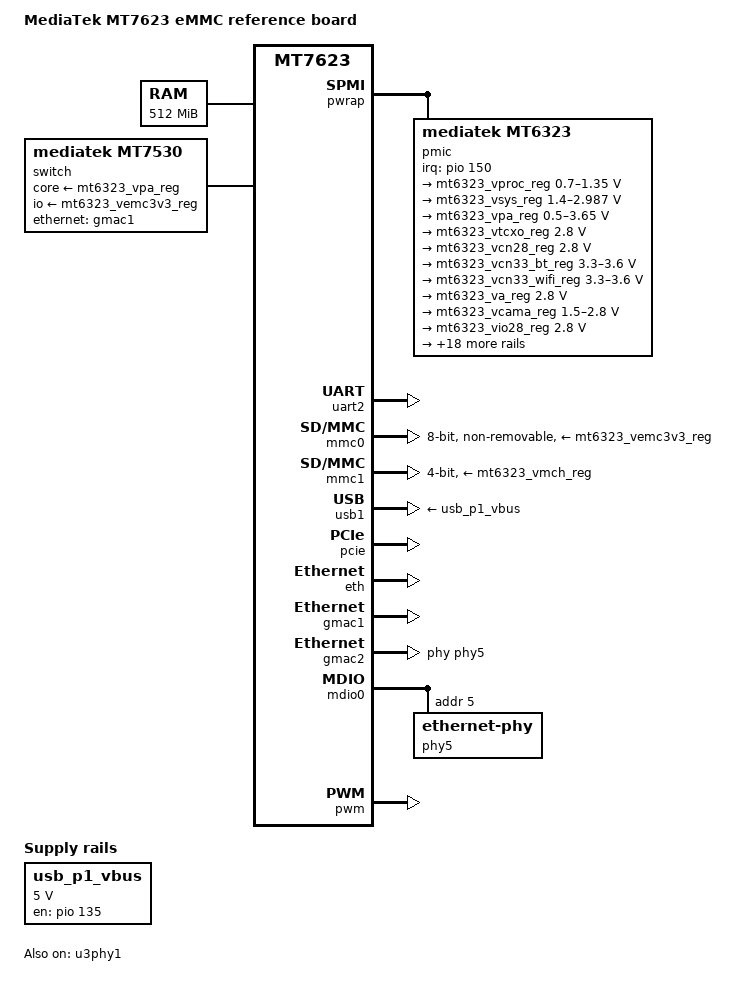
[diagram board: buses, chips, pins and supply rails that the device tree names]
/*
 * Copyright (c) 2016 MediaTek Inc.
 * Author: John Crispin <blogic@openwrt.org>
 *
 * This program is free software; you can redistribute it and/or modify
 * it under the terms of the GNU General Public License version 2 as
 * published by the Free Software Foundation.
 *
 * This program is distributed in the hope that it will be useful,
 * but WITHOUT ANY WARRANTY; without even the implied warranty of
 * MERCHANTABILITY or FITNESS FOR A PARTICULAR PURPOSE.  See the
 * GNU General Public License for more details.
 */

/dts-v1/;

#include "_mt7623.dtsi"
#include <dt-bindings/gpio/gpio.h>

/ {
	model = "MediaTek MT7623 eMMC reference board";
	compatible = "mediatek,mt7623-rfb-emmc", "mediatek,mt7623";

	chosen {
		stdout-path = &uart2;
		bootargs = "earlyprintk block2mtd.block2mtd=/dev/mmcblk0,65536,eMMC,5 mtdparts=eMMC:256k(mbr)ro,512k(uboot)ro,256k(config)ro,256k(factory)ro,32M(kernel),32M(recovery),1024M(rootfs),2048M(usrdata),-(bmtpool) rootfstype=squashfs,jffs2";
	};

	memory {
		reg = <0 0x80000000 0 0x20000000>;
	};

	usb_p1_vbus: regulator@0 {
		compatible = "regulator-fixed";
		regulator-name = "usb_vbus";
		regulator-min-microvolt = <5000000>;
		regulator-max-microvolt = <5000000>;
		gpio = <&pio 135 GPIO_ACTIVE_HIGH>;
		enable-active-high;
	};

	switch {
		compatible = "mediatek,mt7530";
		#address-cells = <1>;
		#size-cells = <0>;
		reg = <0>;

		dsa,mii-bus = <&mdio0>;

		pinctrl-names = "default";
		pinctrl-0 = <&eth_default>;

		core-supply = <&mt6323_vpa_reg>;
		io-supply = <&mt6323_vemc3v3_reg>;

		mediatek,mcm;
		resets = <&ethsys 2>;
		reset-names = "mcm";

		ports {
			#address-cells = <1>;
			#size-cells = <0>;
			reg = <0>;
			port@0 {
				reg = <0>;
				label = "lan0";
			};

			port@1 {
				reg = <1>;
				label = "lan1";
			};

			port@2 {
				reg = <2>;
				label = "lan2";
			};

			port@3 {
				reg = <3>;
				label = "lan3";
			};

			port@6 {
				reg = <6>;
				label = "cpu";
				ethernet = <&gmac1>;
				phy-mode = "trgmii";
				fixed-link {
					speed = <1000>;
					full-duplex;
				};
			};
		};
	};
};

&cpu0 {
	proc-supply = <&mt6323_vproc_reg>;
};

&cpu1 {
	proc-supply = <&mt6323_vproc_reg>;
};

&cpu2 {
	proc-supply = <&mt6323_vproc_reg>;
};

&cpu3 {
	proc-supply = <&mt6323_vproc_reg>;
};

&pwrap {
	pmic: mt6323 {
		compatible = "mediatek,mt6323";
		interrupt-parent = <&pio>;
		interrupts = <150 IRQ_TYPE_LEVEL_HIGH>;
		interrupt-controller;
		#interrupt-cells = <2>;

		mt6323regulator: mt6323regulator{
			compatible = "mediatek,mt6323-regulator";

			mt6323_vproc_reg: buck_vproc{
				regulator-name = "vproc";
				regulator-min-microvolt = < 700000>;
				regulator-max-microvolt = <1350000>;
				regulator-ramp-delay = <12500>;
				regulator-always-on;
				regulator-boot-on;
			};

			mt6323_vsys_reg: buck_vsys{
				regulator-name = "vsys";
				regulator-min-microvolt = <1400000>;
				regulator-max-microvolt = <2987500>;
				regulator-ramp-delay = <25000>;
				regulator-always-on;
				regulator-boot-on;
			};

			mt6323_vpa_reg: buck_vpa{
				regulator-name = "vpa";
				regulator-min-microvolt = < 500000>;
				regulator-max-microvolt = <3650000>;
			};

			mt6323_vtcxo_reg: ldo_vtcxo{
				regulator-name = "vtcxo";
				regulator-min-microvolt = <2800000>;
				regulator-max-microvolt = <2800000>;
				regulator-enable-ramp-delay = <90>;
				regulator-always-on;
				regulator-boot-on;
			};

			mt6323_vcn28_reg: ldo_vcn28{
				regulator-name = "vcn28";
				regulator-min-microvolt = <2800000>;
				regulator-max-microvolt = <2800000>;
				regulator-enable-ramp-delay = <185>;
			};

			mt6323_vcn33_bt_reg: ldo_vcn33_bt{
				regulator-name = "vcn33_bt";
				regulator-min-microvolt = <3300000>;
				regulator-max-microvolt = <3600000>;
				regulator-enable-ramp-delay = <185>;
			};

			mt6323_vcn33_wifi_reg: ldo_vcn33_wifi{
				regulator-name = "vcn33_wifi";
				regulator-min-microvolt = <3300000>;
				regulator-max-microvolt = <3600000>;
				regulator-enable-ramp-delay = <185>;
			};

			mt6323_va_reg: ldo_va{
				regulator-name = "va";
				regulator-min-microvolt = <2800000>;
				regulator-max-microvolt = <2800000>;
				regulator-enable-ramp-delay = <216>;
				regulator-always-on;
				regulator-boot-on;
			};

			mt6323_vcama_reg: ldo_vcama{
				regulator-name = "vcama";
				regulator-min-microvolt = <1500000>;
				regulator-max-microvolt = <2800000>;
				regulator-enable-ramp-delay = <216>;
			};

			mt6323_vio28_reg: ldo_vio28{
				regulator-name = "vio28";
				regulator-min-microvolt = <2800000>;
				regulator-max-microvolt = <2800000>;
				regulator-enable-ramp-delay = <216>;
				regulator-always-on;
				regulator-boot-on;
			};

			mt6323_vusb_reg: ldo_vusb{
				regulator-name = "vusb";
				regulator-min-microvolt = <3300000>;
				regulator-max-microvolt = <3300000>;
				regulator-enable-ramp-delay = <216>;
				regulator-boot-on;
			};

			mt6323_vmc_reg: ldo_vmc{
				regulator-name = "vmc";
				regulator-min-microvolt = <1800000>;
				regulator-max-microvolt = <3300000>;
				regulator-enable-ramp-delay = <36>;
				regulator-boot-on;
			};

			mt6323_vmch_reg: ldo_vmch{
				regulator-name = "vmch";
				regulator-min-microvolt = <3000000>;
				regulator-max-microvolt = <3300000>;
				regulator-enable-ramp-delay = <36>;
				regulator-boot-on;
			};

			mt6323_vemc3v3_reg: ldo_vemc3v3{
				regulator-name = "vemc3v3";
				regulator-min-microvolt = <3000000>;
				regulator-max-microvolt = <3300000>;
				regulator-enable-ramp-delay = <36>;
				regulator-boot-on;
			};

			mt6323_vgp1_reg: ldo_vgp1{
				regulator-name = "vgp1";
				regulator-min-microvolt = <1200000>;
				regulator-max-microvolt = <3300000>;
				regulator-enable-ramp-delay = <216>;
			};

			mt6323_vgp2_reg: ldo_vgp2{
				regulator-name = "vgp2";
				regulator-min-microvolt = <1200000>;
				regulator-max-microvolt = <3000000>;
				regulator-enable-ramp-delay = <216>;
			};

			mt6323_vgp3_reg: ldo_vgp3{
				regulator-name = "vgp3";
				regulator-min-microvolt = <1200000>;
				regulator-max-microvolt = <1800000>;
				regulator-enable-ramp-delay = <216>;
			};

			mt6323_vcn18_reg: ldo_vcn18{
				regulator-name = "vcn18";
				regulator-min-microvolt = <1800000>;
				regulator-max-microvolt = <1800000>;
				regulator-enable-ramp-delay = <216>;
			};

			mt6323_vsim1_reg: ldo_vsim1{
				regulator-name = "vsim1";
				regulator-min-microvolt = <1800000>;
				regulator-max-microvolt = <3000000>;
				regulator-enable-ramp-delay = <216>;
			};

			mt6323_vsim2_reg: ldo_vsim2{
				regulator-name = "vsim2";
				regulator-min-microvolt = <1800000>;
				regulator-max-microvolt = <3000000>;
				regulator-enable-ramp-delay = <216>;
			};

			mt6323_vrtc_reg: ldo_vrtc{
				regulator-name = "vrtc";
				regulator-min-microvolt = <2800000>;
				regulator-max-microvolt = <2800000>;
				regulator-always-on;
				regulator-boot-on;
			};

			mt6323_vcamaf_reg: ldo_vcamaf{
				regulator-name = "vcamaf";
				regulator-min-microvolt = <1200000>;
				regulator-max-microvolt = <3300000>;
				regulator-enable-ramp-delay = <216>;
			};

			mt6323_vibr_reg: ldo_vibr{
				regulator-name = "vibr";
				regulator-min-microvolt = <1200000>;
				regulator-max-microvolt = <3300000>;
				regulator-enable-ramp-delay = <36>;
			};

			mt6323_vrf18_reg: ldo_vrf18{
				regulator-name = "vrf18";
				regulator-min-microvolt = <1825000>;
				regulator-max-microvolt = <1825000>;
				regulator-enable-ramp-delay = <187>;
			};

			mt6323_vm_reg: ldo_vm{
				regulator-name = "vm";
				regulator-min-microvolt = <1200000>;
				regulator-max-microvolt = <1800000>;
				regulator-enable-ramp-delay = <216>;
				regulator-always-on;
				regulator-boot-on;
			};

			mt6323_vio18_reg: ldo_vio18{
				regulator-name = "vio18";
				regulator-min-microvolt = <1800000>;
				regulator-max-microvolt = <1800000>;
				regulator-enable-ramp-delay = <216>;
				regulator-always-on;
				regulator-boot-on;
			};

			mt6323_vcamd_reg: ldo_vcamd{
				regulator-name = "vcamd";
				regulator-min-microvolt = <1200000>;
				regulator-max-microvolt = <1800000>;
				regulator-enable-ramp-delay = <216>;
			};

			mt6323_vcamio_reg: ldo_vcamio{
				regulator-name = "vcamio";
				regulator-min-microvolt = <1800000>;
				regulator-max-microvolt = <1800000>;
				regulator-enable-ramp-delay = <216>;
			};
		};
	};
};

&uart2 {
	status = "okay";
};

&mmc0 {
	status = "okay";
	pinctrl-names = "default", "state_uhs";
	pinctrl-0 = <&mmc0_pins_default>;
	pinctrl-1 = <&mmc0_pins_uhs>;
	bus-width = <8>;
	max-frequency = <50000000>;
	cap-mmc-highspeed;
	vmmc-supply = <&mt6323_vemc3v3_reg>;
	vqmmc-supply = <&mt6323_vio18_reg>;
	non-removable;
};

&mmc1 {
	status = "okay";
	pinctrl-names = "default", "state_uhs";
	pinctrl-0 = <&mmc1_pins_default>;
	pinctrl-1 = <&mmc1_pins_uhs>;
	bus-width = <4>;
	max-frequency = <50000000>;
	cap-sd-highspeed;
	sd-uhs-sdr25;
//	cd-gpios = <&pio 132 0>;
	vmmc-supply = <&mt6323_vmch_reg>;
	vqmmc-supply = <&mt6323_vmc_reg>;
};

&pio {
	mmc0_pins_default: mmc0default {
		pins_cmd_dat {
			pinmux = <MT7623_PIN_111_MSDC0_DAT7_FUNC_MSDC0_DAT7>,
				 <MT7623_PIN_112_MSDC0_DAT6_FUNC_MSDC0_DAT6>,
				 <MT7623_PIN_113_MSDC0_DAT5_FUNC_MSDC0_DAT5>,
				 <MT7623_PIN_114_MSDC0_DAT4_FUNC_MSDC0_DAT4>,
				 <MT7623_PIN_118_MSDC0_DAT3_FUNC_MSDC0_DAT3>,
				 <MT7623_PIN_119_MSDC0_DAT2_FUNC_MSDC0_DAT2>,
				 <MT7623_PIN_120_MSDC0_DAT1_FUNC_MSDC0_DAT1>,
				 <MT7623_PIN_121_MSDC0_DAT0_FUNC_MSDC0_DAT0>,
				 <MT7623_PIN_116_MSDC0_CMD_FUNC_MSDC0_CMD>;
			input-enable;
			bias-pull-up;
		};

		pins_clk {
			pinmux = <MT7623_PIN_117_MSDC0_CLK_FUNC_MSDC0_CLK>;
			bias-pull-down;
		};

		pins_rst {
			pinmux = <MT7623_PIN_115_MSDC0_RSTB_FUNC_MSDC0_RSTB>;
			bias-pull-up;
		};
	};

	mmc0_pins_uhs: mmc0 {
		pins_cmd_dat {
			pinmux = <MT7623_PIN_111_MSDC0_DAT7_FUNC_MSDC0_DAT7>,
				 <MT7623_PIN_112_MSDC0_DAT6_FUNC_MSDC0_DAT6>,
				 <MT7623_PIN_113_MSDC0_DAT5_FUNC_MSDC0_DAT5>,
				 <MT7623_PIN_114_MSDC0_DAT4_FUNC_MSDC0_DAT4>,
				 <MT7623_PIN_118_MSDC0_DAT3_FUNC_MSDC0_DAT3>,
				 <MT7623_PIN_119_MSDC0_DAT2_FUNC_MSDC0_DAT2>,
				 <MT7623_PIN_120_MSDC0_DAT1_FUNC_MSDC0_DAT1>,
				 <MT7623_PIN_121_MSDC0_DAT0_FUNC_MSDC0_DAT0>,
				 <MT7623_PIN_116_MSDC0_CMD_FUNC_MSDC0_CMD>;
			input-enable;
			drive-strength = <MTK_DRIVE_2mA>;
			bias-pull-up = <MTK_PUPD_SET_R1R0_01>;
		};

		pins_clk {
			pinmux = <MT7623_PIN_117_MSDC0_CLK_FUNC_MSDC0_CLK>;
			drive-strength = <MTK_DRIVE_2mA>;
			bias-pull-down = <MTK_PUPD_SET_R1R0_01>;
		};

		pins_rst {
			pinmux = <MT7623_PIN_115_MSDC0_RSTB_FUNC_MSDC0_RSTB>;
			bias-pull-up;
		};
	};

	mmc1_pins_default: mmc1default {
		pins_cmd_dat {
			pinmux = <MT7623_PIN_107_MSDC1_DAT0_FUNC_MSDC1_DAT0>,
				 <MT7623_PIN_108_MSDC1_DAT1_FUNC_MSDC1_DAT1>,
				 <MT7623_PIN_109_MSDC1_DAT2_FUNC_MSDC1_DAT2>,
				 <MT7623_PIN_110_MSDC1_DAT3_FUNC_MSDC1_DAT3>,
				 <MT7623_PIN_105_MSDC1_CMD_FUNC_MSDC1_CMD>;
			input-enable;
			drive-strength = <MTK_DRIVE_4mA>;
			bias-pull-up = <MTK_PUPD_SET_R1R0_10>;
		};

		pins_clk {
			pinmux = <MT7623_PIN_106_MSDC1_CLK_FUNC_MSDC1_CLK>;
			bias-pull-down;
			drive-strength = <MTK_DRIVE_4mA>;
		};

//		pins_insert {
//			pinmux = <MT8173_PIN_132_I2S0_DATA1_FUNC_GPIO132>;
//			bias-pull-up;
//		};
	};

	mmc1_pins_uhs: mmc1 {
		pins_cmd_dat {
			pinmux = <MT7623_PIN_107_MSDC1_DAT0_FUNC_MSDC1_DAT0>,
				 <MT7623_PIN_108_MSDC1_DAT1_FUNC_MSDC1_DAT1>,
				 <MT7623_PIN_109_MSDC1_DAT2_FUNC_MSDC1_DAT2>,
				 <MT7623_PIN_110_MSDC1_DAT3_FUNC_MSDC1_DAT3>,
				 <MT7623_PIN_105_MSDC1_CMD_FUNC_MSDC1_CMD>;
			input-enable;
			drive-strength = <MTK_DRIVE_4mA>;
			bias-pull-up = <MTK_PUPD_SET_R1R0_10>;
		};

		pins_clk {
			pinmux = <MT7623_PIN_106_MSDC1_CLK_FUNC_MSDC1_CLK>;
			drive-strength = <MTK_DRIVE_4mA>;
			bias-pull-down = <MTK_PUPD_SET_R1R0_10>;
		};
	};

	eth_default: eth {
		pins_eth {
			pinmux = <MT7623_PIN_275_G2_MDC_FUNC_MDC>,
				 <MT7623_PIN_276_G2_MDIO_FUNC_MDIO>,
				 <MT7623_PIN_262_G2_TXEN_FUNC_G2_TXEN>,
				 <MT7623_PIN_263_G2_TXD3_FUNC_G2_TXD3>,
				 <MT7623_PIN_264_G2_TXD2_FUNC_G2_TXD2>,
				 <MT7623_PIN_265_G2_TXD1_FUNC_G2_TXD1>,
				 <MT7623_PIN_266_G2_TXD0_FUNC_G2_TXD0>,
				 <MT7623_PIN_267_G2_TXCLK_FUNC_G2_TXC>,
				 <MT7623_PIN_268_G2_RXCLK_FUNC_G2_RXC>,
				 <MT7623_PIN_269_G2_RXD0_FUNC_G2_RXD0>,
				 <MT7623_PIN_270_G2_RXD1_FUNC_G2_RXD1>,
				 <MT7623_PIN_271_G2_RXD2_FUNC_G2_RXD2>,
				 <MT7623_PIN_272_G2_RXD3_FUNC_G2_RXD3>,
				 <MT7623_PIN_274_G2_RXDV_FUNC_G2_RXDV>;
		};

		pins_eth_rst {
			pinmux = <MT7623_PIN_15_GPIO15_FUNC_GPIO15>;
			output-low;
		};
	};

	pwm_pins: pwm {
		pins_pwm1 {
			pinmux = <MT7623_PIN_204_PWM1_FUNC_PWM1>;
		};

		pins_pwm2 {
			pinmux = <MT7623_PIN_205_PWM2_FUNC_PWM2>;
		};
	};
};

&usb1 {
	vusb33-supply = <&mt6323_vusb_reg>;
	vbus-supply = <&usb_p1_vbus>;
	status = "okay";
};

&u3phy1 {
	status = "okay";
};

&pcie {
	status = "okay";
};

&eth {
	status = "okay";
};

&gmac1 {
	mac-address = [00 11 22 33 44 56];
	status = "okay";
};

&gmac2 {
	mac-address = [00 11 22 33 44 55];
	status = "okay";

	phy-handle = <&phy5>;
};

&mdio0 {
	phy5: ethernet-phy@5 {
		reg = <5>;
		phy-mode = "rgmii-rxid";
	};
};

&pwm {
	pinctrl-names = "default";
	pinctrl-0 = <&pwm_pins>;
	status = "okay";
};
